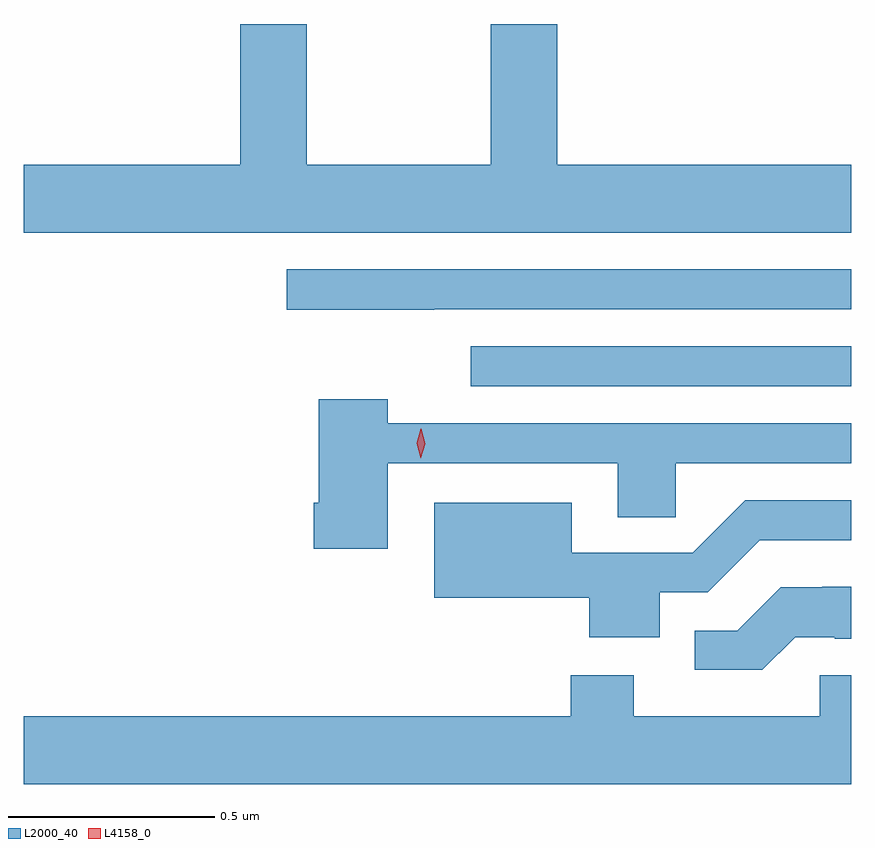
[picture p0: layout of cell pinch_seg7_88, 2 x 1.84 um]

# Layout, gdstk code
import gdstk
lib = gdstk.Library(unit=1e-6, precision=1e-09)
def R(c, l, rs):  # rectangles x0, y0, x1, y1
    for r in rs: c.add(gdstk.rectangle(r[:2], r[2:], *l))
def P(c, l, *ps):  # polygons
    for p in ps: c.add(gdstk.Polygon(p, *l))
L2000_40 = (2000, 40)
L4158_0 = (4158, 0)

pinch_seg7_88 = lib.new_cell('pinch_seg7_88')
R(pinch_seg7_88, L2000_40, [(913.185,1078.833,914.105,1078.929)])
P(pinch_seg7_88, L2000_40, [(914.105,1079.368),(913.394,1079.368),(913.394,1079.708),(913.234,1079.708),(913.234,1079.368),(912.789,1079.368),(912.789,1079.708),(912.629,1079.708),(912.629,1079.368),(912.105,1079.368),(912.105,1079.204),(914.105,1079.204)],
  [(913.097,1079.019),(914.105,1079.019),(914.105,1079.115),(912.741,1079.115),(912.741,1079.018),(913.097,1079.018)],
  [(912.985,1078.647),(913.541,1078.647),(913.541,1078.517),(913.68,1078.517),(913.68,1078.647),(914.105,1078.647),(914.105,1078.743),(912.985,1078.743),(912.985,1078.801),(912.818,1078.801),(912.818,1078.552),(912.806,1078.552),(912.806,1078.44),(912.985,1078.44)],
  [(913.642,1078.335),(913.758,1078.335),(913.884,1078.461),(914.105,1078.461),(914.105,1078.557),(913.848,1078.557),(913.722,1078.431),(913.429,1078.431),(913.429,1078.552),(913.097,1078.552),(913.097,1078.322),(913.472,1078.322),(913.472,1078.226),(913.642,1078.226)],
  [(913.969,1078.227),(914.065,1078.227),(914.065,1078.223),(914.105,1078.223),(914.105,1078.348),(914.035,1078.348),(914.035,1078.347),(913.934,1078.347),(913.829,1078.242),(913.727,1078.242),(913.727,1078.148),(913.89,1078.148)],
  [(914.105,1078.135),(914.028,1078.135),(914.028,1078.036),(913.579,1078.036),(913.579,1078.135),(913.427,1078.135),(913.427,1078.036),(912.105,1078.036),(912.105,1077.872),(914.105,1077.872)])
P(pinch_seg7_88, L4158_0, [(913.064,1078.659),(913.064,1078.659),(913.055,1078.695),(913.065,1078.73),(913.066,1078.73),(913.066,1078.73),(913.075,1078.694),(913.065,1078.659)])

lib.write_gds('pinch_seg7_88.gds')
